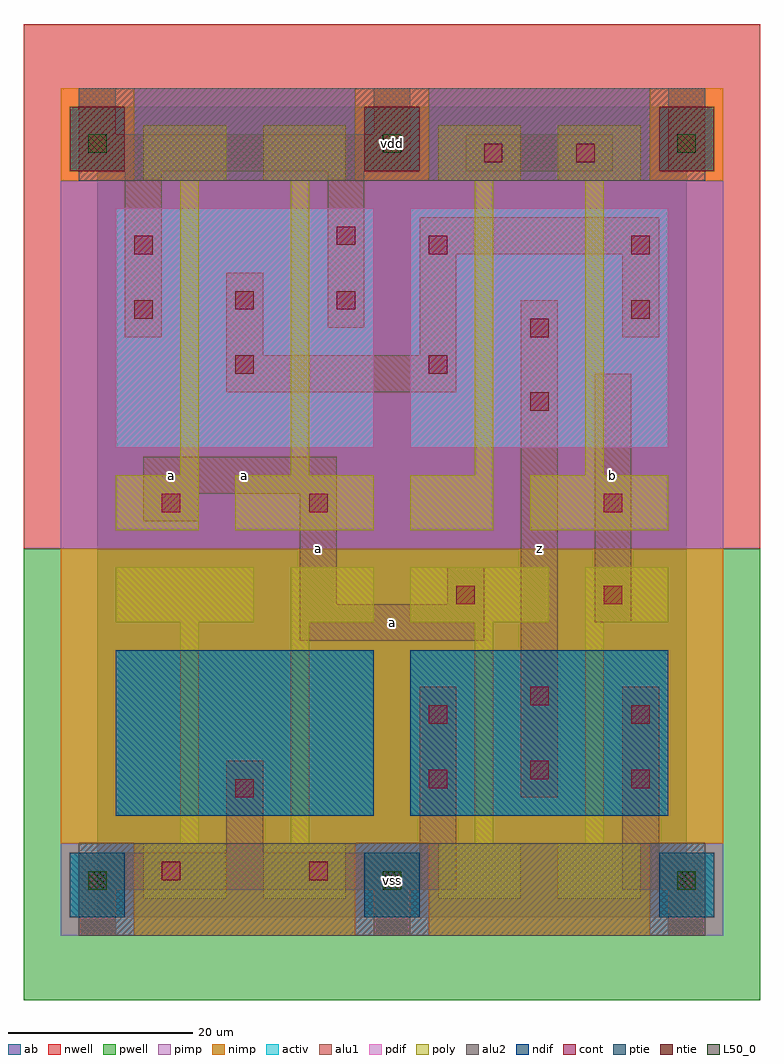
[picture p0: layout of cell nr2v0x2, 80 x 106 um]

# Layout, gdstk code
import gdstk
lib = gdstk.Library(unit=1e-6, precision=1e-09)
def R(c, l, rs):  # rectangles x0, y0, x1, y1
    for r in rs: c.add(gdstk.rectangle(r[:2], r[2:], *l))
def A(c, l, x, y, w, h, nx, ny, dx, dy):  # array of equal rectangles
    R(c, l, [(x+i*dx, y+j*dy, x+i*dx+w, y+j*dy+h) for i in range(nx) for j in range(ny)])
ndif = (3, 0)
pdif = (4, 0)
ntie = (5, 0)
ptie = (6, 0)
cont = (25, 0)
pwell = (41, 0)
nwell = (42, 0)
activ = (43, 0)
pimp = (44, 0)
nimp = (45, 0)
poly = (46, 0)
alu1 = (49, 0)
L50_0 = (50, 0)
alu2 = (51, 0)
ab = (63, 0)

nr2v0x2 = lib.new_cell('nr2v0x2')
R(nr2v0x2, ndif, [(2,11,30,29), (34,11,62,29)])
R(nr2v0x2, pdif, [(2,51,30,77), (34,51,62,77)])
A(nr2v0x2, ntie, -3, 81, 6, 7, 3, 1, 32, 0)
A(nr2v0x2, ptie, -3, 0, 6, 7, 3, 1, 32, 0)
A(nr2v0x2, cont, -1, 3, 2, 2, 3, 2, 32, 80)
R(nr2v0x2, cont, [(7,4,9,6), (23,4,25,6), (15,13,17,15), (36,14,38,16), (58,14,60,16), (47,15,49,17), (36,21,38,23), (58,21,60,23), (47,23,49,25), (39,34,41,36), (55,34,57,36), (7,44,9,46), (23,44,25,46), (55,44,57,46), (47,55,49,57), (15,59,17,61), (36,59,38,61), (47,63,49,65), (4,65,6,67), (58,65,60,67), (15,66,17,68), (26,66,28,68), (4,72,6,74), (36,72,38,74), (58,72,60,74), (26,73,28,75), (42,82,44,84), (52,82,54,84)])
R(nr2v0x2, pwell, [(-8,-9,72,40)])
R(nr2v0x2, nwell, [(-8,40,72,97)])
A(nr2v0x2, activ, -3, 0, 6, 7, 3, 2, 32, 81)
R(nr2v0x2, activ, [(2,11,30,29), (34,11,62,29), (2,51,30,77), (34,51,62,77)])
A(nr2v0x2, pimp, -4, -2, 8, 10, 3, 1, 32, 0)
R(nr2v0x2, pimp, [(-4,40,68,80), (4,80,28,90), (36,80,60,90)])
A(nr2v0x2, nimp, -4, 80, 8, 10, 3, 1, 32, 0)
R(nr2v0x2, nimp, [(4,-2,28,8), (36,-2,60,8), (-4,8,68,40)])
R(nr2v0x2, poly, [(5,2,14,8), (18,2,27,8), (37,2,46,8), (50,2,59,8), (9,8,11,32), (21,8,23,32), (41,8,43,32), (53,8,55,32), (2,32,17,38), (21,32,30,38), (34,32,49,38), (53,32,62,38), (2,42,11,48), (15,42,30,48), (34,42,43,48), (47,42,62,48), (9,48,11,80), (21,48,23,80), (41,48,43,80), (53,48,55,80), (5,80,14,86), (18,80,27,86), (37,80,46,86), (50,80,59,86)])
A(nr2v0x2, alu1, -2, -2, 4, 5, 3, 1, 32, 0)
R(nr2v0x2, alu1, [(-2,3,39,7), (57,3,66,7), (14,7,18,17), (35,7,39,25), (57,7,61,25), (46,13,50,67), (22,30,42,34), (54,32,58,59), (22,34,26,46), (38,34,42,38), (5,43,11,46), (5,46,26,50), (14,57,39,61), (14,61,18,70), (35,61,39,72), (3,63,7,81), (57,63,61,72), (25,64,29,81), (35,72,61,76), (-2,81,34,85), (40,81,56,85), (62,81,66,90), (-2,85,2,90), (30,85,34,90)])
A(nr2v0x2, L50_0, -1, 3, 2, 2, 3, 2, 32, 80)
R(nr2v0x2, alu2, [(-2,-2,66,8), (-2,80,66,90)])
R(nr2v0x2, ab, [(0,0,64,88)])
nr2v0x2.add(gdstk.Label('a', (8,48), layer=49, texttype=0))
nr2v0x2.add(gdstk.Label('a', (24,40), layer=49, texttype=0))
nr2v0x2.add(gdstk.Label('a', (16,48), layer=49, texttype=0))
nr2v0x2.add(gdstk.Label('a', (32,32), layer=49, texttype=0))
nr2v0x2.add(gdstk.Label('z', (48,40), layer=49, texttype=0))
nr2v0x2.add(gdstk.Label('b', (56,48), layer=49, texttype=0))
nr2v0x2.add(gdstk.Label('vss', (32,4), layer=51, texttype=0))
nr2v0x2.add(gdstk.Label('vdd', (32,84), layer=51, texttype=0))

lib.write_gds('nr2v0x2.gds')
